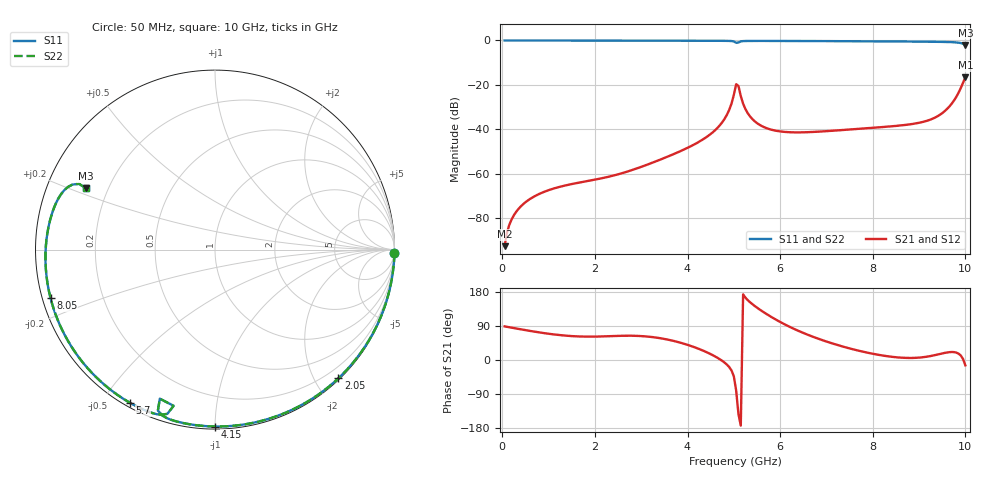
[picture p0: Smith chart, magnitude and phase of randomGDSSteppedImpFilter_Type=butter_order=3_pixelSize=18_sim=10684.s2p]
! freq	dB(S11)	phase(S11)	dB(S12)	phase(S12)
!  dB(S21)	phase(S21)	dB(S22)	phase(S22)
!S-par simulation data
#  GHz  S  DB  R 50
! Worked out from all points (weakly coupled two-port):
!   200 points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, 50 MHz to 10 GHz, reference 50 ohm
!   highest |S21| = -16.61 dB at 10 GHz (marker M1); lowest = -92.7 dB at 50 MHz (marker M2)
!   lowest |S11| = -2.0 dB at 10 GHz (marker M3), VSWR 8.80, Z = 5.96 + j11.1 ohm
!   |S11| at or under -10 dB: nowhere
!   |S22| runs from -2.0 to 0.0 dB; largest |S21 - S12| = 0
!   S11 on the Smith chart (normalised r, x): 50 MHz: 0, -99; 2.05 GHz: 0.02, -2.34; 4.15 GHz: 0.01, -1.00; 5.7 GHz: 0.02, -0.59; 8.05 GHz: 0.02, -0.14; 10 GHz: 0.12, +0.22
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0.05  -0.00 -1.2  -92.68 88.7  -92.68 88.7  -0.00 -1.2
0.2  -0.01 -4.6  -80.67 85.4  -80.67 85.4  -0.00 -4.6
0.45  -0.01 -10.3  -73.77 79.9  -73.77 79.9  -0.01 -10.3
0.8  -0.02 -18.3  -69.12 72.8  -69.12 72.8  -0.02 -18.3
1.75  -0.05 -39.6  -63.68 61.8  -63.68 61.8  -0.05 -39.6
2.05  -0.06 -46.2  -62.50 61.8  -62.50 61.8  -0.06 -46.2
3.4  -0.10 -74.8  -53.78 57.7  -53.78 57.7  -0.10 -74.8
4.15  -0.13 -90.0  -46.79 33.7  -46.79 33.7  -0.13 -90.0
4.75  -0.16 -102.4  -36.84 -2.3  -36.84 -2.3  -0.16 -102.4
4.9  -0.21 -106.0  -31.28 -18.6  -31.28 -18.6  -0.21 -106.0
5.05  -1.06 -110.3  -19.71 -80.5  -19.71 -80.5  -1.05 -110.3
5.1  -0.91 -104.8  -20.52 -142.9  -20.52 -142.9  -0.91 -104.8
5.2  -0.29 -108.0  -28.47 173.2  -28.47 173.2  -0.29 -108.0
5.3  -0.22 -110.7  -32.76 158.0  -32.76 158.0  -0.22 -110.7
5.7  -0.21 -119.0  -39.47 121.7  -39.47 121.7  -0.21 -119.0
6.7  -0.27 -138.0  -41.23 61.7  -41.23 61.7  -0.27 -138.0
8.05  -0.40 -163.5  -39.27 15.3  -39.27 15.3  -0.40 -163.5
8.35  -0.43 -169.4  -38.78 9.4  -38.78 9.4  -0.43 -169.4
9.05  -0.53 176.4  -36.87 6.9  -36.87 6.9  -0.53 176.4
9.45  -0.63 167.6  -33.48 15.9  -33.48 15.9  -0.63 167.6
9.75  -0.81 160.1  -27.17 20.9  -27.17 20.9  -0.81 160.0
10  -1.98 154.6  -16.61 -14.2  -16.61 -14.2  -1.99 154.5
